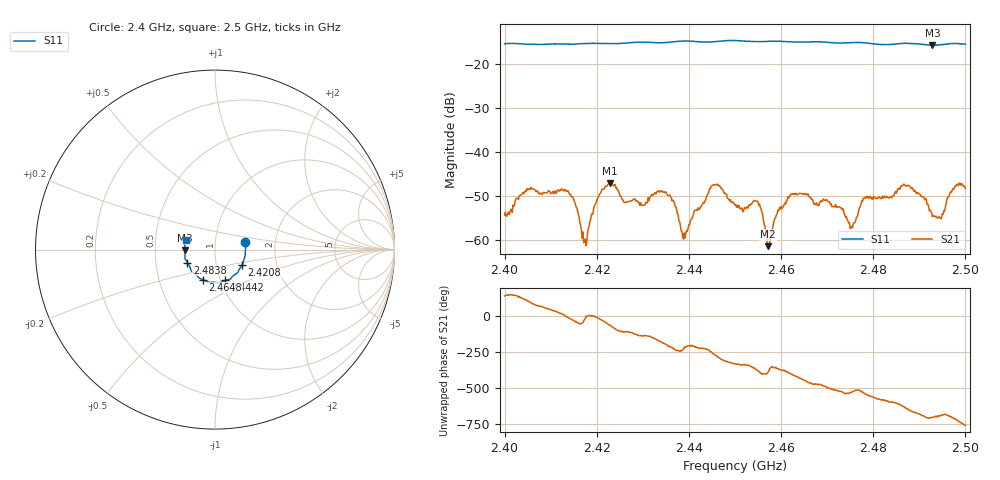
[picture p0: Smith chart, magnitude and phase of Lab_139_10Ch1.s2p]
# Hz S RI R 50
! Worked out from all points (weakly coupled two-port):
!   601 points, 2.4 GHz to 2.5 GHz, reference 50 ohm
!   highest |S21| = -47.07 dB at 2.4228 GHz (marker M1); lowest = -61.5 dB at 2.4572 GHz (marker M2)
!   lowest |S11| = -15.6 dB at 2.4928 GHz (marker M3), VSWR 1.40, Z = 35.8 - j0.345 ohm
!   |S11| at or under -10 dB: start of sweep to end of sweep
!   S12 and S22 are empty: the file has one direction only
!   S11 on the Smith chart (normalised r, x): 2.4 GHz: 1.40, +0.12; 2.4208 GHz: 1.33, -0.24; 2.4442 GHz: 1.05, -0.37; 2.4648 GHz: 0.83, -0.29; 2.4838 GHz: 0.73, -0.11; 2.5 GHz: 0.72, +0.08
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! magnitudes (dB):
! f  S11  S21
! 2.4 GHz  -15.3  -54.4
! 2.4127 GHz  -15.3  -48.7
! 2.4167 GHz  -15.2  -57.9
! 2.4177 GHz  -15.2  -61.4
! 2.4208 GHz  -15.2  -49.4
! 2.4228 GHz  -15.2  -47.1
! 2.4333 GHz  -15.0  -48.9
! 2.4363 GHz  -14.9  -51.2
! 2.4388 GHz  -14.6  -59.9
! 2.4442 GHz  -14.9  -49.5
! 2.45 GHz  -14.5  -52.1
! 2.4548 GHz  -14.8  -51.2
! 2.4572 GHz  -14.7  -61.5
! 2.4648 GHz  -14.9  -49.7
! 2.4667 GHz  -14.8  -50.8
! 2.4755 GHz  -15.0  -57.3
! 2.4783 GHz  -15.1  -50.2
! 2.4833 GHz  -15.5  -50.5
! 2.4838 GHz  -15.4  -50.2
! 2.4875 GHz  -15.2  -47.7
! 2.4928 GHz  -15.6  -54.8
! 2.5 GHz  -15.4  -48.3
